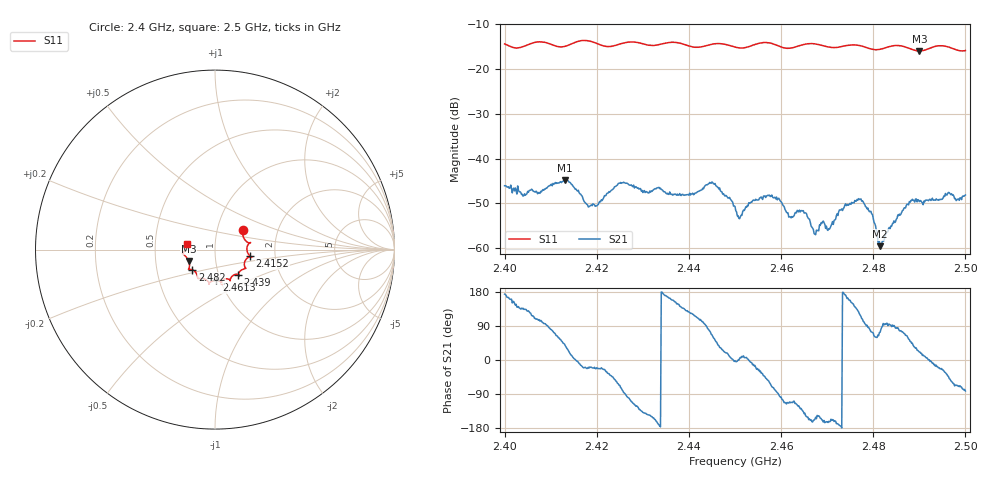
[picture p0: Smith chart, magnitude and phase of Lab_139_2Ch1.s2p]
# Hz S RI R 50
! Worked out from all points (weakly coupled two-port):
!   601 points, 2.4 GHz to 2.5 GHz, reference 50 ohm
!   highest |S21| = -44.81 dB at 2.4132 GHz (marker M1); lowest = -59.6 dB at 2.4815 GHz (marker M2)
!   lowest |S11| = -15.9 dB at 2.49 GHz (marker M3), VSWR 1.38, Z = 36.9 - j4.8 ohm
!   |S11| at or under -10 dB: start of sweep to end of sweep
!   S12 and S22 are empty: the file has one direction only
!   S11 on the Smith chart (normalised r, x): 2.4 GHz: 1.33, +0.31; 2.4152 GHz: 1.48, -0.11; 2.439 GHz: 1.24, -0.36; 2.4613 GHz: 0.96, -0.34; 2.482 GHz: 0.76, -0.18; 2.5 GHz: 0.73, +0.05
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2.4e9  0.156 0.1116  -0.00495 0.000536  0 0  0 0
2.404167e9  0.1736 0.0464  -0.00266 0.00279  0 0  0 0
2.413167e9  0.18 -0.0123  0.00454 0.00352  0 0  0 0
2.415167e9  0.1948 -0.0362  0.00469 0.000206  0 0  0 0
2.416667e9  0.2044 -0.0422  0.00375 -0.00101  0 0  0 0
2.419833e9  0.191 -0.0408  0.00271 -0.00116  0 0  0 0
2.425167e9  0.1661 -0.0968  0.00162 -0.00516  0 0  0 0
2.433333e9  0.1325 -0.1327  -0.00465 -0.000946  0 0  0 0
2.439e9  0.128 -0.139  -0.00274 0.00276  0 0  0 0
2.445167e9  0.084 -0.1715  0.00249 0.00476  0 0  0 0
2.45e9  0.0685 -0.1631  0.00291 -9.35e-05  0 0  0 0
2.4575e9  0.0403 -0.1926  0.00197 -0.00337  0 0  0 0
2.461333e9  0.00791 -0.1708  -0.00093 -0.00229  0 0  0 0
2.466667e9  -0.0331 -0.1904  -0.00163 -0.000516  0 0  0 0
2.4705e9  -0.048 -0.1696  -0.00156 -0.000476  0 0  0 0
2.477e9  -0.0959 -0.157  -0.00183 0.00297  0 0  0 0
2.4795e9  -0.1039 -0.1324  0.000666 0.00248  0 0  0 0
2.4815e9  -0.1216 -0.1144  0.000299 0.00101  0 0  0 0
2.482e9  -0.1268 -0.1122  1.72e-05 0.00119  0 0  0 0
2.483333e9  -0.14 -0.1099  -0.000133 0.00165  0 0  0 0
2.49e9  -0.1467 -0.0632  0.00308 0.0012  0 0  0 0
2.5e9  -0.1581 0.0336  0.000566 -0.00388  0 0  0 0
